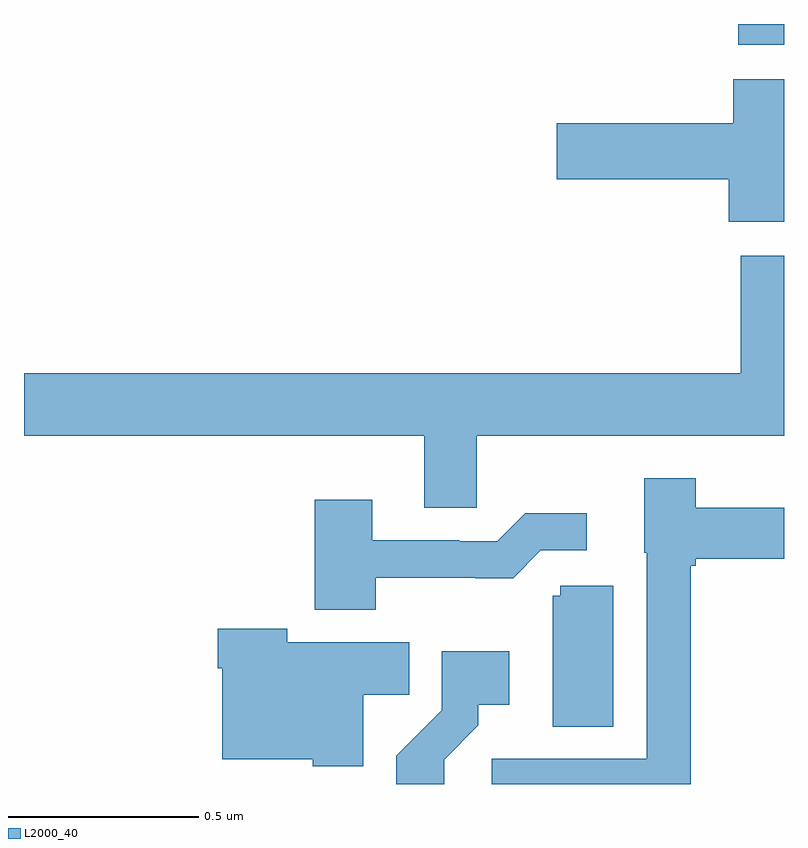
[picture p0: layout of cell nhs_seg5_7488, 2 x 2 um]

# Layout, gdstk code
import gdstk
lib = gdstk.Library(unit=1e-6, precision=1e-09)
def R(c, l, rs):  # rectangles x0, y0, x1, y1
    for r in rs: c.add(gdstk.rectangle(r[:2], r[2:], *l))
def P(c, l, *ps):  # polygons
    for p in ps: c.add(gdstk.Polygon(p, *l))
L2000_40 = (2000, 40)

nhs_seg5_7488 = lib.new_cell('nhs_seg5_7488')
R(nhs_seg5_7488, L2000_40, [(210.879,901.745,211,901.799)])
P(nhs_seg5_7488, L2000_40, [(211,901.654),(210.866,901.654),(210.866,901.538),(210.402,901.538),(210.402,901.391),(210.854,901.391),(210.854,901.278),(211,901.278)],
  [(210.192,900.716),(211,900.716),(211,901.189),(210.886,901.189),(210.886,900.88),(209,900.88),(209,900.716),(210.053,900.716),(210.053,900.526),(210.192,900.526)],
  [(210.755,900.374),(210.768,900.374),(210.768,900.392),(211,900.392),(211,900.526),(210.768,900.526),(210.768,900.604),(210.632,900.604),(210.632,900.408),(210.639,900.408),(210.639,899.865),(210.231,899.865),(210.231,899.799),(210.755,899.799)],
  [(209.925,900.342),(210.188,900.342),(210.188,900.341),(210.287,900.341),(210.36,900.414),(210.481,900.414),(210.481,900.511),(210.319,900.511),(210.246,900.438),(210.146,900.438),(210.146,900.441),(209.917,900.441),(209.917,900.547),(209.765,900.547),(209.765,900.257),(209.925,900.257)],
  [(210.55,900.321),(210.411,900.321),(210.411,900.294),(210.392,900.294),(210.392,899.95),(210.55,899.95)],
  [(209.893,900.034),(210.014,900.034),(210.014,900.172),(209.693,900.172),(209.693,900.208),(209.51,900.208),(209.51,900.104),(209.522,900.104),(209.522,899.864),(209.76,899.864),(209.76,899.846),(209.893,899.846)],
  [(210.106,899.863),(210.196,899.953),(210.196,900.008),(210.277,900.008),(210.277,900.148),(210.099,900.148),(210.099,899.993),(209.98,899.874),(209.98,899.799),(210.106,899.799)])

lib.write_gds('nhs_seg5_7488.gds')
